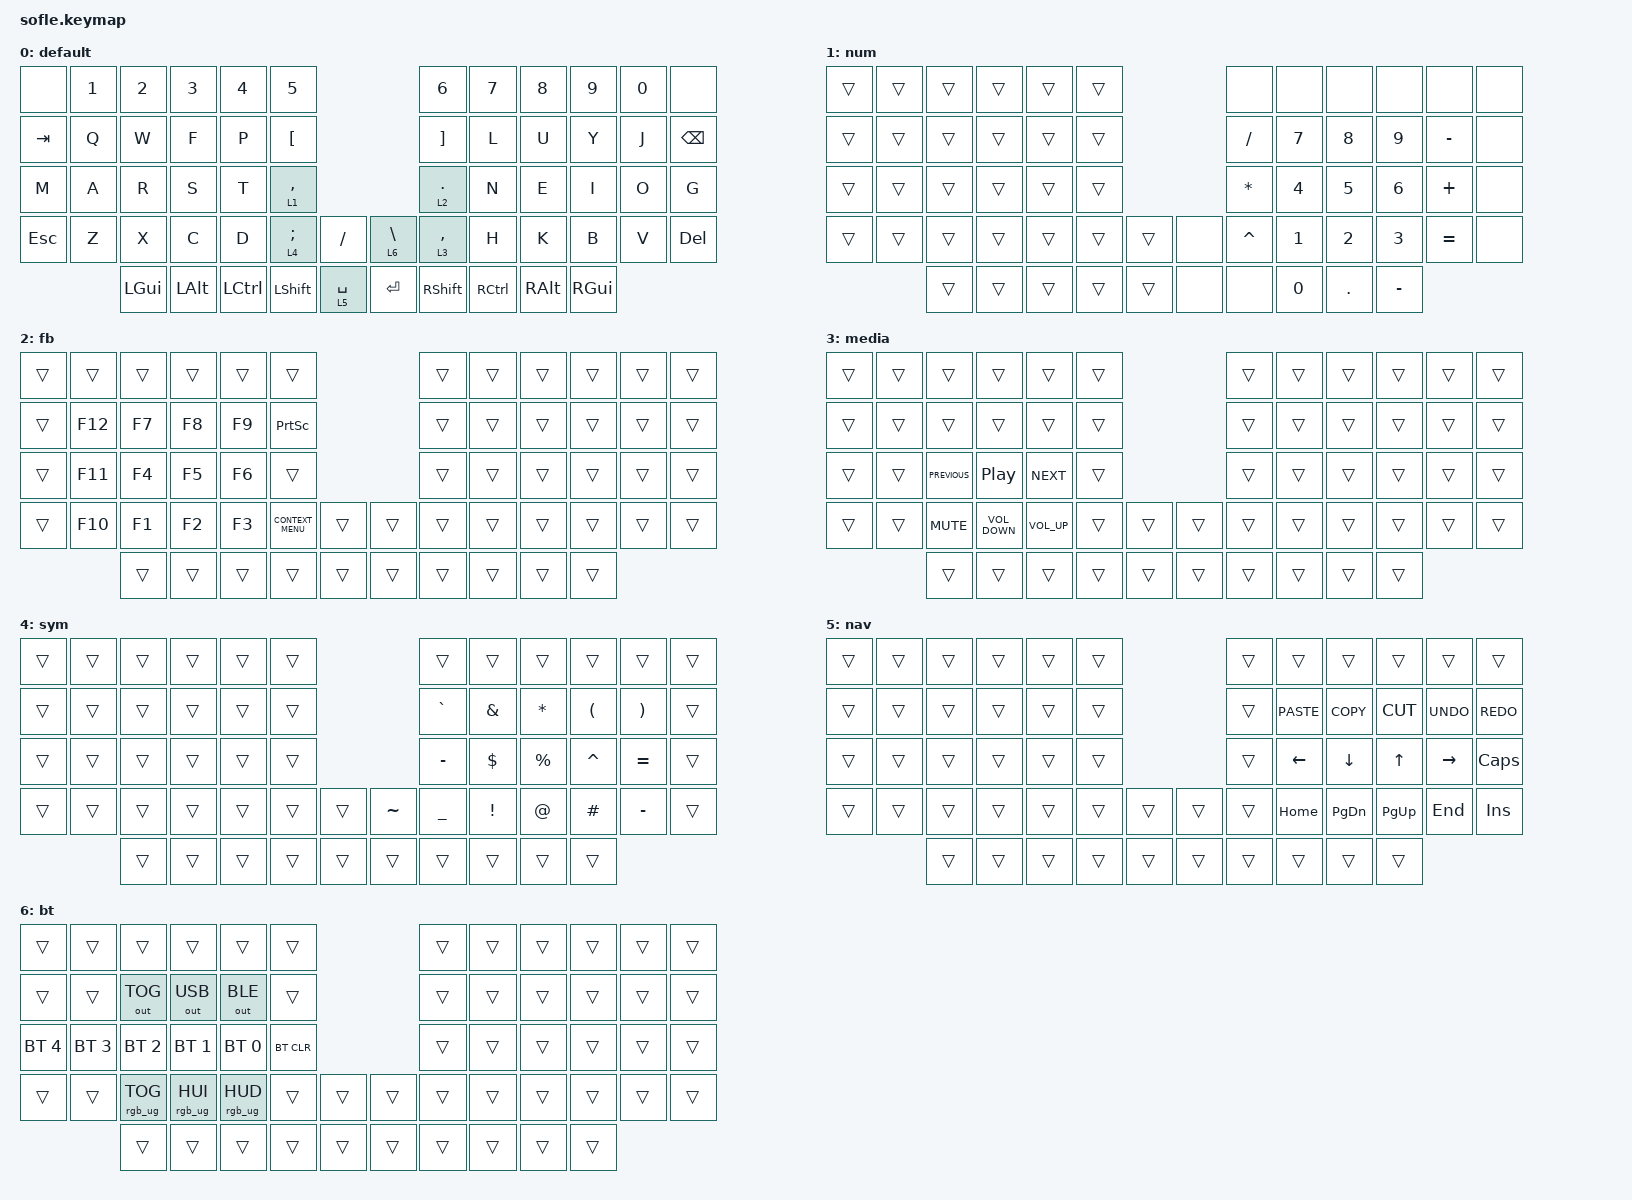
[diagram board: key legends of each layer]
/*
 * Copyright (c) 2020 The ZMK Contributors
 *
 * SPDX-License-Identifier: MIT
 */

#include <behaviors.dtsi>
#include <dt-bindings/zmk/bt.h>
#include <dt-bindings/zmk/keys.h>
#include <dt-bindings/zmk/outputs.h>
#include <dt-bindings/zmk/rgb.h>

#define BASE 0
#define LOWER 1
#define RAISE 2
#define ADJUST 3


/ {
    // Activate ADJUST layer by pressing raise and lower

    conditional_layers { compatible = "zmk,conditional-layers"; };

    combos {
        compatible = "zmk,combos";

        Bluetooth_Layer_Combo {
            bindings = <&mo 6>;
            key-positions = <56 23>;
        };
    };

    keymap {
        compatible = "zmk,keymap";

        default_layer {
            display-name = "default";

            // ------------------------------------------------------------------------------------------------------------
            // |   `   |  1  |  2  |  3   |  4   |  5   |                   |  6   |  7    |  8    |  9   |   0   |       |
            // |  ESC  |  Q  |  W  |  E   |  R   |  T   |                   |  Y   |  U    |  I    |  O   |   P   | BKSPC |
            // |  TAB  |  A  |  S  |  D   |  F   |  G   |                   |  H   |  J    |  K    |  L   |   ;   |   '   |
            // | SHIFT |  Z  |  X  |  C   |  V   |  B   |  MUTE  |  |       |  N   |  M    |  ,    |  .   |   /   | SHIFT |
            //               | GUI | ALT  | CTRL | LOWER|  ENTER |  | SPACE | RAISE| CTRL  | ALT   | GUI  |

            bindings = <
&none    &kp N1  &kp N2    &kp N3    &kp N4     &kp N5                                            &kp N6             &kp N7     &kp N8    &kp N9    &kp N0  &none
&kp TAB  &kp Q   &kp W     &kp F     &kp P      &kp LEFT_BRACKET                                  &kp RIGHT_BRACKET  &kp L      &kp U     &kp Y     &kp J   &kp BACKSPACE
&kp M    &kp A   &kp R     &kp S     &kp T      &lt 1 COMMA                                       &lt 2 PERIOD       &kp N      &kp E     &kp I     &kp O   &kp G
&kp ESC  &kp Z   &kp X     &kp C     &kp D      &lt 4 SEMICOLON   &kp SLASH      &lt 6 BACKSLASH  &lt 3 COMMA        &kp H      &kp K     &kp B     &kp V   &kp DELETE
                 &kp LGUI  &kp LALT  &kp LCTRL  &kp LSHIFT        &lt 5 SPACE    &kp ENTER        &kp RIGHT_SHIFT    &kp RCTRL  &kp RALT  &kp RGUI
            >;
        };

        num_layer {
            bindings = <
&trans  &trans  &trans  &trans  &trans  &trans                   &none         &none   &none    &none      &none      &none
&trans  &trans  &trans  &trans  &trans  &trans                   &kp SLASH     &kp N7  &kp N8   &kp N9     &kp MINUS  &none
&trans  &trans  &trans  &trans  &trans  &trans                   &kp ASTERISK  &kp N4  &kp N5   &kp N6     &kp PLUS   &none
&trans  &trans  &trans  &trans  &trans  &trans  &trans    &none  &kp CARET     &kp N1  &kp N2   &kp N3     &kp EQUAL  &none
                &trans  &trans  &trans  &trans  &trans    &none  &none         &kp N0  &kp DOT  &kp MINUS
            >;

            label = "num";
        };

        fn_layer {
            bindings = <
&trans  &trans   &trans  &trans  &trans  &trans                                &trans  &trans  &trans  &trans  &trans  &trans
&trans  &kp F12  &kp F7  &kp F8  &kp F9  &kp PRINTSCREEN                       &trans  &trans  &trans  &trans  &trans  &trans
&trans  &kp F11  &kp F4  &kp F5  &kp F6  &trans                                &trans  &trans  &trans  &trans  &trans  &trans
&trans  &kp F10  &kp F1  &kp F2  &kp F3  &kp K_CONTEXT_MENU  &trans    &trans  &trans  &trans  &trans  &trans  &trans  &trans
                 &trans  &trans  &trans  &trans              &trans    &trans  &trans  &trans  &trans  &trans
            >;

            label = "fb";
        };

        media_layer {
            bindings = <
&trans  &trans  &trans          &trans             &trans           &trans                    &trans  &trans  &trans  &trans  &trans  &trans
&trans  &trans  &trans          &trans             &trans           &trans                    &trans  &trans  &trans  &trans  &trans  &trans
&trans  &trans  &kp K_PREVIOUS  &kp C_PLAY_PAUSE   &kp K_NEXT       &trans                    &trans  &trans  &trans  &trans  &trans  &trans
&trans  &trans  &kp K_MUTE      &kp C_VOLUME_DOWN  &kp C_VOLUME_UP  &trans  &trans    &trans  &trans  &trans  &trans  &trans  &trans  &trans
                &trans          &trans             &trans           &trans  &trans    &trans  &trans  &trans  &trans  &trans
            >;

            label = "media";
        };

        sym_layer {
            bindings = <
&trans  &trans  &trans  &trans  &trans  &trans                       &trans          &trans           &trans        &trans                &trans                 &trans
&trans  &trans  &trans  &trans  &trans  &trans                       &kp GRAVE       &kp AMPERSAND    &kp ASTERISK  &kp LEFT_PARENTHESIS  &kp RIGHT_PARENTHESIS  &trans
&trans  &trans  &trans  &trans  &trans  &trans                       &kp MINUS       &kp DOLLAR       &kp PERCENT   &kp CARET             &kp EQUAL              &trans
&trans  &trans  &trans  &trans  &trans  &trans  &trans    &kp TILDE  &kp UNDERSCORE  &kp EXCLAMATION  &kp AT_SIGN   &kp HASH              &kp MINUS              &trans
                &trans  &trans  &trans  &trans  &trans    &trans     &trans          &trans           &trans        &trans
            >;

            label = "sym";
        };

        nav_layer {
            bindings = <
&trans  &trans  &trans  &trans  &trans  &trans                    &trans  &trans       &trans          &trans        &trans           &trans
&trans  &trans  &trans  &trans  &trans  &trans                    &trans  &kp K_PASTE  &kp K_COPY      &kp K_CUT     &kp K_UNDO       &kp K_REDO
&trans  &trans  &trans  &trans  &trans  &trans                    &trans  &kp LEFT     &kp DOWN_ARROW  &kp UP_ARROW  &kp RIGHT_ARROW  &kp CAPS
&trans  &trans  &trans  &trans  &trans  &trans  &trans    &trans  &trans  &kp HOME     &kp PAGE_DOWN   &kp PAGE_UP   &kp END          &kp INSERT
                &trans  &trans  &trans  &trans  &trans    &trans  &trans  &trans       &trans          &trans
            >;

            label = "nav";
        };

        bt_layer {
            bindings = <
&trans        &trans        &trans           &trans           &trans           &trans                        &trans  &trans  &trans  &trans  &trans  &trans
&trans        &trans        &out OUT_TOG     &out OUT_USB     &out OUT_BLE     &trans                        &trans  &trans  &trans  &trans  &trans  &trans
&bt BT_SEL 4  &bt BT_SEL 3  &bt BT_SEL 2     &bt BT_SEL 1     &bt BT_SEL 0     &bt BT_CLR                    &trans  &trans  &trans  &trans  &trans  &trans
&trans        &trans        &rgb_ug RGB_TOG  &rgb_ug RGB_HUI  &rgb_ug RGB_HUD  &trans      &trans    &trans  &trans  &trans  &trans  &trans  &trans  &trans
                            &trans           &trans           &trans           &trans      &trans    &trans  &trans  &trans  &trans  &trans
            >;

            label = "bt";
        };
    };
};
